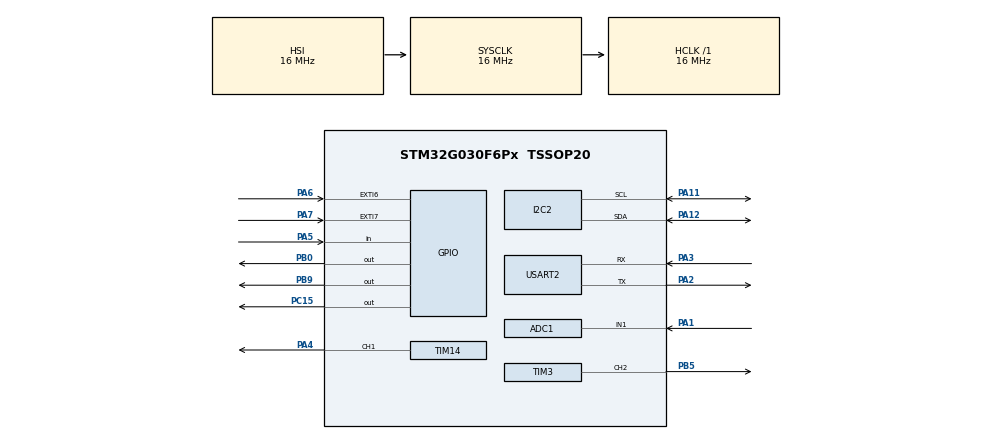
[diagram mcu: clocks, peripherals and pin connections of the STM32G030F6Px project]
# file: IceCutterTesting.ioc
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ADC1.Channel-2\#ChannelRegularConversion=ADC_CHANNEL_1
ADC1.ContinuousConvMode=ENABLE
ADC1.NbrOfConversionFlag=1
ADC1.Rank-2\#ChannelRegularConversion=1
ADC1.Resolution=ADC_RESOLUTION_12B
ADC1.SamplingTime-2\#ChannelRegularConversion=ADC_SAMPLINGTIME_COMMON_1
ADC1.SelectedChannel=ADC_CHANNEL_1
ADC1.master=1
Dma.ADC1.0.Direction=DMA_PERIPH_TO_MEMORY
Dma.ADC1.0.EventEnable=DISABLE
Dma.ADC1.0.Instance=DMA1_Channel1
Dma.ADC1.0.MemDataAlignment=DMA_MDATAALIGN_HALFWORD
Dma.ADC1.0.MemInc=DMA_MINC_ENABLE
Dma.ADC1.0.Mode=DMA_CIRCULAR
Dma.ADC1.0.PeriphDataAlignment=DMA_PDATAALIGN_HALFWORD
Dma.ADC1.0.PeriphInc=DMA_PINC_DISABLE
Dma.ADC1.0.Polarity=HAL_DMAMUX_REQ_GEN_RISING
Dma.ADC1.0.Priority=DMA_PRIORITY_LOW
Dma.ADC1.0.RequestNumber=1
Dma.ADC1.0.SignalID=NONE
Dma.ADC1.0.SyncEnable=DISABLE
Dma.ADC1.0.SyncPolarity=HAL_DMAMUX_SYNC_NO_EVENT
Dma.ADC1.0.SyncRequestNumber=1
Dma.ADC1.0.SyncSignalID=NONE
Dma.Request0=ADC1
Mcu.Family=STM32G0
Mcu.Name=STM32G030F6Px
Mcu.Package=TSSOP20
NVIC.DMA1_Channel1_IRQn=true\:0\:0\:false\:false\:true\:false\:true\:true
NVIC.EXTI4_15_IRQn=true\:0\:0\:false\:false\:true\:true\:true\:true
NVIC.TIM14_IRQn=true\:0\:0\:false\:false\:true\:true\:true\:true
NVIC.TIM3_IRQn=true\:0\:0\:false\:false\:true\:true\:true\:true
PA1.Mode=IN1
PA1.Signal=ADC1_IN1
PA11\ [PA9].Mode=I2C
PA11\ [PA9].Signal=I2C2_SCL
PA12\ [PA10].Mode=I2C
PA12\ [PA10].Signal=I2C2_SDA
PA13.Mode=Serial_Wire
PA13.Signal=SYS_SWDIO
PA14-BOOT0.Mode=Serial_Wire
PA14-BOOT0.Signal=SYS_SWCLK
PA14-BOOT0__PA15.StandardMode=true
PA2.Mode=Asynchronous
PA2.Signal=USART2_TX
PA3.Mode=Asynchronous
PA3.Signal=USART2_RX
PA4.Signal=S_TIM14_CH1
PA5.Signal=GPIO_Input
PA6.GPIO_ModeDefaultEXTI=GPIO_MODE_IT_FALLING
PA6.GPIO_PuPd=GPIO_PULLUP
PA6.Signal=GPXTI6
PA7.GPIO_ModeDefaultEXTI=GPIO_MODE_IT_FALLING
PA7.GPIO_PuPd=GPIO_PULLUP
PA7.Signal=GPXTI7
PB0.GPIO_Speed=GPIO_SPEED_FREQ_VERY_HIGH
PB0.PinState=GPIO_PIN_SET
PB0.Signal=GPIO_Output
PB0__PB1__PB2__PA8.StandardMode=true
PB3__PB4__PB5__PB6.StandardMode=true
PB5.Signal=S_TIM3_CH2
PB7__PB8.StandardMode=true
PB9.GPIO_FM9=SYSCFG_FASTMODEPLUS_PB9
PB9.GPIO_ModeDefaultOutputPP=GPIO_MODE_OUTPUT_PP
PB9.GPIO_PuPd=GPIO_NOPULL
PB9.GPIO_Speed=GPIO_SPEED_FREQ_VERY_HIGH
PB9.PinState=GPIO_PIN_SET
PB9.Signal=GPIO_Output
PC14-OSC32_IN\ (PC14)__PB9.StandardMode=true
PC15-OSC32_OUT\ (PC15).GPIO_ModeDefaultOutputPP=GPIO_MODE_OUTPUT_PP
PC15-OSC32_OUT\ (PC15).GPIO_PuPd=GPIO_PULLUP
PC15-OSC32_OUT\ (PC15).PinState=GPIO_PIN_SET
PC15-OSC32_OUT\ (PC15).Signal=GPIO_Output
ProjectManager.HeapSize=0x200
ProjectManager.StackSize=0x400
ProjectManager.TargetToolchain=STM32CubeIDE
RCC.ADCFreq_Value=16000000
RCC.AHBFreq_Value=16000000
RCC.CortexFreq_Value=16000000
RCC.EXTERNAL_CLOCK_VALUE=12288000
RCC.HCLKFreq_Value=16000000
RCC.HSE_VALUE=8000000
RCC.HSI_VALUE=16000000
RCC.LSE_VALUE=32768
RCC.SYSCLKFreq_VALUE=16000000
RCC.VCOOutputFreq_Value=128000000
SH.S_TIM14_CH1.0=TIM14_CH1,PWM Generation1 CH1
SH.S_TIM3_CH2.0=TIM3_CH2,PWM Generation2 CH2
TIM1.AutoReloadPreload=TIM_AUTORELOAD_PRELOAD_DISABLE
TIM14.AutoReloadPreload=TIM_AUTORELOAD_PRELOAD_ENABLE
TIM14.Channel=TIM_CHANNEL_1
TIM14.OC1Preload_PWM=ENABLE
TIM14.OCFastMode_PWM=TIM_OCFAST_ENABLE
TIM14.OCPolarity_1=TIM_OCPOLARITY_HIGH
TIM14.Period=4095
TIM14.Prescaler=245
TIM3.AutoReloadPreload=TIM_AUTORELOAD_PRELOAD_ENABLE
TIM3.Channel-PWM\ Generation2\ CH2=TIM_CHANNEL_2
TIM3.Period=65535
TIM3.Prescaler=1
USART2.VirtualMode-Asynchronous=VM_ASYNC
VP_TIM14_VS_ClockSourceINT.Mode=Enable_Timer
VP_TIM1_VS_ClockSourceINT.Mode=Internal
board=custom

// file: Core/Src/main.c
/* USER CODE BEGIN Header */
/**
  ******************************************************************************
  * @file           : main.c
  * @brief          : Main program body
  ******************************************************************************
  * @attention
  *
  * Copyright (c) 2022 STMicroelectronics.
  * All rights reserved.
  *
  * This software is licensed under terms that can be found in the LICENSE file
  * in the root directory of this software component.
  * If no LICENSE file comes with this software, it is provided AS-IS.
  *
  ******************************************************************************
  */
/* USER CODE END Header */
#include "main.h"

/* USER CODE BEGIN Includes */
//#include <string.h>
//#include <stdio.h>
/* USER CODE END Includes */

ADC_HandleTypeDef hadc1;
DMA_HandleTypeDef hdma_adc1;

I2C_HandleTypeDef hi2c2;

TIM_HandleTypeDef htim1;
TIM_HandleTypeDef htim3;
TIM_HandleTypeDef htim14;

UART_HandleTypeDef huart2;

/* USER CODE BEGIN PV */

#define WIRE_INA219  		0x40
#define INPUT_INA219 		0x41

#define INA_CONFIG_REG  	0x00
#define INA_VOLT_REG		0x02
#define INA_POWER_REG 		0x03
#define INA_CURRENT_REG  	0x04
#define INA_CALIB_REG  		0x05
#define INA_CAL  			0x7482//0xA6C2//0x7482
#define INA_CAL_INPUT		0x96A8
#define INA_CURRENT_LSB 	0.001831055
#define INA_POWER_LSB 		0.0366211 //current_LSB *20
#define INA_CONFIG_VALUE 	0x299F //sets PGA =2
#define INA_CONFIG_PGA_8	0x399F //set PGA = 8
#define INA_CONFIG_1_SAMP	0x399F //set sampling to 1
#define INA_CONFIG_4_SAMP	0x39D7//set sampling to 4 average
#define INA_CONFIG_8_SAMP	0x39DF//set sampling to 8 average
#define MAX_INRUSH_CURRENT 	59

#define TMP_TEMP_REG  		0x00
#define TMP_LSB  			0.0078125 //set from datasheet
#define ARR_MAX 			63491//15999//0xFFF; //for 12bit resolution @ Fclk = 16MHz
#define TMP_ADD_WIRE 		0x48
#define TMP_ADD_INPUT 		0x49
#define TMP_ADD_AMBIENT 	0x4A
#define TEMP_LIMIT_AMBIENT 	0x32//50C
#define TEMP_LIMIT_WIRE 	0x55//85C
#define TEMP_LIMIT_INPUT 	0x55//85C

#define COPPER_TCR			0.00393//0.004
#define NICKEL_TCR 			0.0059//0.005671
#define R_REF_NICKEL 		0.027474
#define T_REF_NICKEL 		21.973025
#define R_REF_COPPER		0
#define T_REF_COPPER		0
#define CUTTER_TYPE			1 //1=nickel 2 = copper
#define SUPPLY_VOLTAGE 		5

#define RED_LED 		GPIO_PIN_9
#define RED_LED_state	GPIOB
#define GREEN_LED 		GPIO_PIN_15
#define GREEN_LED_state	GPIOC
#define SS_FET			GPIO_PIN_0
#define SS_FET_state	GPIOB
#define DRIVE_FET 		GPIO_PIN_4
#define DRIVE_FET_state	GPIOA
#define SW2 			GPIO_PIN_6
#define SW2_state		GPIOA
#define SW1 			GPIO_PIN_7
#define SW1_state		GPIOA

#define POWER_ON		0
#define INITIALISING	1
#define INITIALISED		2
#define SETTLING_STATE 	3
#define STEADY_STATE	4
#define CUTTING			5
#define COOLDOWN		6
#define UNKNOWN_STATE 	7

#define WARM_UP_THRESHOLD  10	//tune this
#define CUTTING_THRESHOLD -30 	//tune this
#define STEADY_STATE_THRESHOLD 5 //tune this
#define ICE_REMOVED_THRESHOLD 50 //tune this
#define ABOVE_THRESHOLD 0
#define IN_THRESHOLD 	1

#define MAX_ALLOWED_TEMP 	1446//1446//1446.0 //0x5A6 = 1446 = Nickel Melting temp
#define POT_MAX_READING 	4095.0
#define DUTY_CYCLE_MAX 		1

#define FCLK			16000000
#define PSC				245//73//20
#define MAX_ARR			65535
#define ON_TIME			0.01

#define Ki_warming 0.00002
#define Kp_warming 1.1
#define Kd_warming 0.00000000001
float integral = 0;
float derivative = 0;
float prev_error = 0;

#define Ki_cutting 0
#define Kp_cutting 0
#define Kd_cutting 0

#define Ki_cooling 0
#define Kp_cooling 0
#define Kd_cooling 0

uint16_t duty_cycle_global;
uint8_t current_state;

float wire_temp_global;
float prev_wire_temp_global;
float input_power;
float output_power;
uint16_t pot_reading;
float temp_setpoint;
float TMP_Input;
float TMP_Output;
float TMP_Ambient;
float current_input=0;
float current_output=0;
float output_voltage;

uint8_t counter_uart = 0;
uint8_t counter_timer = 1;
uint8_t counter_temp = 0;
uint16_t volt_reg;
float wire_temp_arr[6];

/* USER CODE END PV */

void SystemClock_Config(void);
static void MX_GPIO_Init(void);
static void MX_DMA_Init(void);
static void MX_USART2_UART_Init(void);
static void MX_I2C2_Init(void);
static void MX_ADC1_Init(void);
static void MX_TIM1_Init(void);
static void MX_TIM14_Init(void);
static void MX_TIM3_Init(void);

/* USER CODE BEGIN 0 */
void write_to_register(uint8_t device_address, uint8_t register_pointer, uint16_t register_value);
void write_to_reg_unspecified(uint8_t device_address, uint16_t register_value);
int16_t read_register(uint8_t device_address,uint8_t register_pointer);
int16_t readReg_unspecified(uint8_t device_address);
float get_temp_TMP117(uint8_t device_address);
float measure_current(uint8_t device_address);
float measure_power(uint8_t device_address);
int swap_endian(int p);
void ina_initialise();
float wire_temp_calc();
uint8_t temp_checks();
void SS_charge();
void pulse_charge_SS();
void startup_initialisation();
void UART_output();
void set_PWM_driveFET(float duty_cycle);
double fabs(double x);
uint16_t pot_temp();
void warm_up_controller();
void cutting_controller();
void cooling_controller();
void state_estimate();
void monitor_input_current();
uint16_t calc_ARR(float duty_cycle);
void wire_temp_average();

/* USER CODE END 0 */

int main(void)
{

  /* MCU Configuration--------------------------------------------------------*/

  /* Reset of all peripherals, Initializes the Flash interface and the Systick. */
  HAL_Init();

  /* Configure the system clock */
  SystemClock_Config();

  /* Initialize all configured peripherals */
  MX_GPIO_Init();
  MX_DMA_Init();
  MX_USART2_UART_Init();
  MX_I2C2_Init();
  MX_ADC1_Init();
  MX_TIM1_Init();
  MX_TIM14_Init();
  MX_TIM3_Init();
  /* USER CODE BEGIN 2 */
  //calibrate ADC on start-up for better accuracy
  HAL_ADCEx_Calibration_Start(&hadc1);
  HAL_TIM_PWM_Start(&htim14, TIM_CHANNEL_1);
  HAL_TIM_Base_Start_IT(&htim14);

  //current_state = POWER_ON;
  startup_initialisation();
  HAL_GPIO_WritePin(GPIOB,SS_FET,GPIO_PIN_SET);
  /* USER CODE END 2 */

  /* Infinite loop */
  while (1)
  {

    /* USER CODE BEGIN 3 */

	  HAL_ADC_Start_DMA (&hadc1, &pot_reading, 1);
	  if(temp_checks()==IN_THRESHOLD){
		  counter_uart += 1;
		  //monitor_input_current();
		  //wire_temp_average();

		  //state_estimate();
		  switch (current_state){
		  case POWER_ON:
			  startup_initialisation();
			  break;
		  case INITIALISING:
			  startup_initialisation();
			  break;
		  case INITIALISED:
			  wire_temp_calc();
			  //waiting for button press
			  //HAL_UART_Transmit(&huart2,(uint8_t *)"\r\n Press SW2 to heat",sizeof("\r\n Press SW2 to heat"),10);
			  break;
		  case SETTLING_STATE:
			  warm_up_controller();
			  HAL_GPIO_TogglePin(RED_LED_state, RED_LED);
			  HAL_GPIO_TogglePin(GREEN_LED_state, GREEN_LED);
			  break;
		  case STEADY_STATE:
			  HAL_UART_Transmit(&huart2,(uint8_t *)"\r\n Wire @ temp",sizeof("\r\n Wire @ temp"),10);
			  warm_up_controller();
			  HAL_GPIO_TogglePin(RED_LED_state, RED_LED);
			  HAL_GPIO_TogglePin(GREEN_LED_state, GREEN_LED);
			  break;
		  case CUTTING:
			  cutting_controller();
			  HAL_GPIO_TogglePin(RED_LED_state, RED_LED);
			  HAL_GPIO_TogglePin(GREEN_LED_state, GREEN_LED);
			  break;
		  case COOLDOWN:
			  cooling_controller();
			  HAL_GPIO_TogglePin(RED_LED_state, RED_LED);
			  HAL_GPIO_TogglePin(GREEN_LED_state, GREEN_LED);
			  break;
		  case UNKNOWN_STATE:
			  startup_initialisation();
		  break;
		  }
		  UART_temp_only();
		  HAL_Delay(130);
		  //UART_output();
		  //if(counter_uart == 3){
			  //UART_output();
			  //counter_uart = 0;
		  //}
	  }else{
		  HAL_UART_Transmit(&huart2,(uint8_t *)"\r\n Board too hot",sizeof("\r\n Board too hot"),10);
		  set_PWM_driveFET(0);
	  }
  }
  /* USER CODE END 3 */
}

void SystemClock_Config(void)
{
  RCC_OscInitTypeDef RCC_OscInitStruct = {0};
  RCC_ClkInitTypeDef RCC_ClkInitStruct = {0};

  /** Configure the main internal regulator output voltage
  */
  HAL_PWREx_ControlVoltageScaling(PWR_REGULATOR_VOLTAGE_SCALE1);

  /** Initializes the RCC Oscillators according to the specified parameters
  * in the RCC_OscInitTypeDef structure.
  */
  RCC_OscInitStruct.OscillatorType = RCC_OSCILLATORTYPE_HSI;
  RCC_OscInitStruct.HSIState = RCC_HSI_ON;
  RCC_OscInitStruct.HSIDiv = RCC_HSI_DIV1;
  RCC_OscInitStruct.HSICalibrationValue = RCC_HSICALIBRATION_DEFAULT;
  RCC_OscInitStruct.PLL.PLLState = RCC_PLL_NONE;
  if (HAL_RCC_OscConfig(&RCC_OscInitStruct) != HAL_OK)
  {
    Error_Handler();
  }

  /** Initializes the CPU, AHB and APB buses clocks
  */
  RCC_ClkInitStruct.ClockType = RCC_CLOCKTYPE_HCLK|RCC_CLOCKTYPE_SYSCLK
                              |RCC_CLOCKTYPE_PCLK1;
  RCC_ClkInitStruct.SYSCLKSource = RCC_SYSCLKSOURCE_HSI;
  RCC_ClkInitStruct.AHBCLKDivider = RCC_SYSCLK_DIV1;
  RCC_ClkInitStruct.APB1CLKDivider = RCC_HCLK_DIV1;

  if (HAL_RCC_ClockConfig(&RCC_ClkInitStruct, FLASH_LATENCY_0) != HAL_OK)
  {
    Error_Handler();
  }
}

static void MX_ADC1_Init(void)
{

  ADC_ChannelConfTypeDef sConfig = {0};

  /** Configure the global features of the ADC (Clock, Resolution, Data Alignment and number of conversion)
  */
  hadc1.Instance = ADC1;
  hadc1.Init.ClockPrescaler = ADC_CLOCK_SYNC_PCLK_DIV2;
  hadc1.Init.Resolution = ADC_RESOLUTION_12B;
  hadc1.Init.DataAlign = ADC_DATAALIGN_RIGHT;
  hadc1.Init.ScanConvMode = ADC_SCAN_DISABLE;
  hadc1.Init.EOCSelection = ADC_EOC_SINGLE_CONV;
  hadc1.Init.LowPowerAutoWait = DISABLE;
  hadc1.Init.LowPowerAutoPowerOff = DISABLE;
  hadc1.Init.ContinuousConvMode = ENABLE;
  hadc1.Init.NbrOfConversion = 1;
  hadc1.Init.ExternalTrigConv = ADC_SOFTWARE_START;
  hadc1.Init.ExternalTrigConvEdge = ADC_EXTERNALTRIGCONVEDGE_NONE;
  hadc1.Init.DMAContinuousRequests = DISABLE;
  hadc1.Init.Overrun = ADC_OVR_DATA_PRESERVED;
  hadc1.Init.SamplingTimeCommon1 = ADC_SAMPLETIME_1CYCLE_5;
  hadc1.Init.SamplingTimeCommon2 = ADC_SAMPLETIME_1CYCLE_5;
  hadc1.Init.OversamplingMode = DISABLE;
  hadc1.Init.TriggerFrequencyMode = ADC_TRIGGER_FREQ_HIGH;
  if (HAL_ADC_Init(&hadc1) != HAL_OK)
  {
    Error_Handler();
  }

  /** Configure Regular Channel
  */
  sConfig.Channel = ADC_CHANNEL_1;
  sConfig.Rank = ADC_REGULAR_RANK_1;
  sConfig.SamplingTime = ADC_SAMPLINGTIME_COMMON_1;
  if (HAL_ADC_ConfigChannel(&hadc1, &sConfig) != HAL_OK)
  {
    Error_Handler();
  }

}

static void MX_I2C2_Init(void)
{

  hi2c2.Instance = I2C2;
  hi2c2.Init.Timing = 0x00303D5B;
  hi2c2.Init.OwnAddress1 = 0;
  hi2c2.Init.AddressingMode = I2C_ADDRESSINGMODE_7BIT;
  hi2c2.Init.DualAddressMode = I2C_DUALADDRESS_DISABLE;
  hi2c2.Init.OwnAddress2 = 0;
  hi2c2.Init.OwnAddress2Masks = I2C_OA2_NOMASK;
  hi2c2.Init.GeneralCallMode = I2C_GENERALCALL_DISABLE;
  hi2c2.Init.NoStretchMode = I2C_NOSTRETCH_DISABLE;
  if (HAL_I2C_Init(&hi2c2) != HAL_OK)
  {
    Error_Handler();
  }

  /** Configure Analogue filter
  */
  if (HAL_I2CEx_ConfigAnalogFilter(&hi2c2, I2C_ANALOGFILTER_ENABLE) != HAL_OK)
  {
    Error_Handler();
  }

  /** Configure Digital filter
  */
  if (HAL_I2CEx_ConfigDigitalFilter(&hi2c2, 0) != HAL_OK)
  {
    Error_Handler();
  }

}

static void MX_TIM1_Init(void)
{

  TIM_ClockConfigTypeDef sClockSourceConfig = {0};
  TIM_MasterConfigTypeDef sMasterConfig = {0};

  htim1.Instance = TIM1;
  htim1.Init.Prescaler = 0;
  htim1.Init.CounterMode = TIM_COUNTERMODE_UP;
  htim1.Init.Period = 65535;
  htim1.Init.ClockDivision = TIM_CLOCKDIVISION_DIV1;
  htim1.Init.RepetitionCounter = 0;
  htim1.Init.AutoReloadPreload = TIM_AUTORELOAD_PRELOAD_DISABLE;
  if (HAL_TIM_Base_Init(&htim1) != HAL_OK)
  {
    Error_Handler();
  }
  sClockSourceConfig.ClockSource = TIM_CLOCKSOURCE_INTERNAL;
  if (HAL_TIM_ConfigClockSource(&htim1, &sClockSourceConfig) != HAL_OK)
  {
    Error_Handler();
  }
  sMasterConfig.MasterOutputTrigger = TIM_TRGO_RESET;
  sMasterConfig.MasterOutputTrigger2 = TIM_TRGO2_RESET;
  sMasterConfig.MasterSlaveMode = TIM_MASTERSLAVEMODE_DISABLE;
  if (HAL_TIMEx_MasterConfigSynchronization(&htim1, &sMasterConfig) != HAL_OK)
  {
    Error_Handler();
  }

}

static void MX_TIM3_Init(void)
{

  TIM_MasterConfigTypeDef sMasterConfig = {0};
  TIM_OC_InitTypeDef sConfigOC = {0};

  htim3.Instance = TIM3;
  htim3.Init.Prescaler = 1;
  htim3.Init.CounterMode = TIM_COUNTERMODE_UP;
  htim3.Init.Period = 65535;
  htim3.Init.ClockDivision = TIM_CLOCKDIVISION_DIV1;
  htim3.Init.AutoReloadPreload = TIM_AUTORELOAD_PRELOAD_ENABLE;
  if (HAL_TIM_PWM_Init(&htim3) != HAL_OK)
  {
    Error_Handler();
  }
  sMasterConfig.MasterOutputTrigger = TIM_TRGO_RESET;
  sMasterConfig.MasterSlaveMode = TIM_MASTERSLAVEMODE_DISABLE;
  if (HAL_TIMEx_MasterConfigSynchronization(&htim3, &sMasterConfig) != HAL_OK)
  {
    Error_Handler();
  }
  sConfigOC.OCMode = TIM_OCMODE_PWM1;
  sConfigOC.Pulse = 0;
  sConfigOC.OCPolarity = TIM_OCPOLARITY_HIGH;
  sConfigOC.OCFastMode = TIM_OCFAST_DISABLE;
  if (HAL_TIM_PWM_ConfigChannel(&htim3, &sConfigOC, TIM_CHANNEL_2) != HAL_OK)
  {
    Error_Handler();
  }
  HAL_TIM_MspPostInit(&htim3);

}

static void MX_TIM14_Init(void)
{

  TIM_OC_InitTypeDef sConfigOC = {0};

  htim14.Instance = TIM14;
  htim14.Init.Prescaler = 245;
  htim14.Init.CounterMode = TIM_COUNTERMODE_UP;
  htim14.Init.Period = 4095;
  htim14.Init.ClockDivision = TIM_CLOCKDIVISION_DIV1;
  htim14.Init.AutoReloadPreload = TIM_AUTORELOAD_PRELOAD_ENABLE;
  if (HAL_TIM_Base_Init(&htim14) != HAL_OK)
  {
    Error_Handler();
  }
  if (HAL_TIM_PWM_Init(&htim14) != HAL_OK)
  {
    Error_Handler();
  }
  sConfigOC.OCMode = TIM_OCMODE_PWM1;
  sConfigOC.Pulse = 0;
  sConfigOC.OCPolarity = TIM_OCPOLARITY_HIGH;
  sConfigOC.OCFastMode = TIM_OCFAST_ENABLE;
  if (HAL_TIM_PWM_ConfigChannel(&htim14, &sConfigOC, TIM_CHANNEL_1) != HAL_OK)
  {
    Error_Handler();
  }
  HAL_TIM_MspPostInit(&htim14);

}

static void MX_USART2_UART_Init(void)
{

  huart2.Instance = USART2;
  huart2.Init.BaudRate = 115200;
  huart2.Init.WordLength = UART_WORDLENGTH_8B;
  huart2.Init.StopBits = UART_STOPBITS_1;
  huart2.Init.Parity = UART_PARITY_NONE;
  huart2.Init.Mode = UART_MODE_TX_RX;
  huart2.Init.HwFlowCtl = UART_HWCONTROL_NONE;
  huart2.Init.OverSampling = UART_OVERSAMPLING_16;
  huart2.Init.OneBitSampling = UART_ONE_BIT_SAMPLE_DISABLE;
  huart2.Init.ClockPrescaler = UART_PRESCALER_DIV1;
  huart2.AdvancedInit.AdvFeatureInit = UART_ADVFEATURE_NO_INIT;
  if (HAL_UART_Init(&huart2) != HAL_OK)
  {
    Error_Handler();
  }

}

static void MX_DMA_Init(void)
{

  /* DMA controller clock enable */
  __HAL_RCC_DMA1_CLK_ENABLE();

  /* DMA interrupt init */
  /* DMA1_Channel1_IRQn interrupt configuration */
  HAL_NVIC_SetPriority(DMA1_Channel1_IRQn, 0, 0);
  HAL_NVIC_EnableIRQ(DMA1_Channel1_IRQn);

}

static void MX_GPIO_Init(void)
{
  GPIO_InitTypeDef GPIO_InitStruct = {0};

  /* GPIO Ports Clock Enable */
  __HAL_RCC_GPIOB_CLK_ENABLE();
  __HAL_RCC_GPIOC_CLK_ENABLE();
  __HAL_RCC_GPIOA_CLK_ENABLE();

  /*Configure GPIO pin Output Level */
  HAL_GPIO_WritePin(GPIOB, GPIO_PIN_9|GPIO_PIN_0, GPIO_PIN_SET);

  /*Configure GPIO pin Output Level */
  HAL_GPIO_WritePin(GPIOC, GPIO_PIN_15, GPIO_PIN_SET);

  /*Configure GPIO pins : PB9 PB0 */
  GPIO_InitStruct.Pin = GPIO_PIN_9|GPIO_PIN_0;
  GPIO_InitStruct.Mode = GPIO_MODE_OUTPUT_PP;
  GPIO_InitStruct.Pull = GPIO_NOPULL;
  GPIO_InitStruct.Speed = GPIO_SPEED_FREQ_VERY_HIGH;
  HAL_GPIO_Init(GPIOB, &GPIO_InitStruct);

  /*Configure GPIO pin : PC15 */
  GPIO_InitStruct.Pin = GPIO_PIN_15;
  GPIO_InitStruct.Mode = GPIO_MODE_OUTPUT_PP;
  GPIO_InitStruct.Pull = GPIO_PULLUP;
  GPIO_InitStruct.Speed = GPIO_SPEED_FREQ_LOW;
  HAL_GPIO_Init(GPIOC, &GPIO_InitStruct);

  /*Configure GPIO pin : PA5 */
  GPIO_InitStruct.Pin = GPIO_PIN_5;
  GPIO_InitStruct.Mode = GPIO_MODE_INPUT;
  GPIO_InitStruct.Pull = GPIO_NOPULL;
  HAL_GPIO_Init(GPIOA, &GPIO_InitStruct);

  /*Configure GPIO pins : PA6 PA7 */
  GPIO_InitStruct.Pin = GPIO_PIN_6|GPIO_PIN_7;
  GPIO_InitStruct.Mode = GPIO_MODE_IT_FALLING;
  GPIO_InitStruct.Pull = GPIO_PULLUP;
  HAL_GPIO_Init(GPIOA, &GPIO_InitStruct);

  /**/
  __HAL_SYSCFG_FASTMODEPLUS_ENABLE(SYSCFG_FASTMODEPLUS_PB9);

  /* EXTI interrupt init*/
  HAL_NVIC_SetPriority(EXTI4_15_IRQn, 0, 0);
  HAL_NVIC_EnableIRQ(EXTI4_15_IRQn);

}

/* USER CODE BEGIN 4 */
/**
 *@brief Swaps endian from Big to little or vice versa for given data
 * @param int p
 * @retval int p_swapped
   */
 int swap_endian(int p)
 {
 	 uint16_t p_swapped = (p>>8) | (p<<8);
 	 return p_swapped;
 }
//TODO add I2C error handling
 /**
 * @brief Write to given value to register of given device address
 * @param uint8_t device_address, uint8_t register_pointer, uint16_t register_value
 * @retval None
 */
 void write_to_register(uint8_t device_address,uint8_t register_pointer, uint16_t register_value)
 {
     HAL_StatusTypeDef status = HAL_OK;
     uint16_t register_value_swapped = swap_endian(register_value);
     HAL_I2C_Mem_Write(&hi2c2,(device_address<<1),register_pointer,1,&register_value_swapped,2,50);
     /* Check the communication status */
     if(status != HAL_OK){
    	 MX_I2C2_Init();
    	 HAL_Delay(100);
    	 HAL_I2C_Mem_Write(&hi2c2,(device_address<<1),register_pointer,1,&register_value_swapped,2,50);
    	 // Error handling, for example re-initialization of the I2C peripheral
     }
 }

 /**
 * @brief read given register of given device function
 * @param uint8_t device_address uint8_t register_pointer
 * @retval uint16_t register_value_return
 */
 int16_t read_register(uint8_t device_address,uint8_t register_pointer)
 {
     HAL_StatusTypeDef status = HAL_OK;
     uint16_t register_value_return;

     HAL_I2C_Mem_Read(&hi2c2,(device_address<<1),register_pointer,1,&register_value_return,2,500);
     /* Check the communication status */
     if(status != HAL_OK){
         	 MX_I2C2_Init();
         	 HAL_Delay(100);
         	 HAL_I2C_Mem_Read(&hi2c2,(device_address<<1),register_pointer,1,&register_value_return,2,500);
         	 // Error handling, for example re-initialization of the I2C peripheral
     }
     register_value_return = swap_endian(register_value_return);
     return register_value_return;
 }

 /**
 * @brief	Calculate and return temperature measured by TMP117
 * @param	int16_t register_value
 * @retval 	int16_t temp
 */
 float get_temp_TMP117(uint8_t device_address)
 {
	   //uint8_t value_LSB = 0.0078125;
	   int16_t device_measurement = read_register(device_address, TMP_TEMP_REG);
	   float temp = TMP_LSB * device_measurement;

	   switch(device_address){
	   case TMP_ADD_AMBIENT:
		   TMP_Ambient = temp;
		   break;
	   case TMP_ADD_INPUT:
		   TMP_Input = temp;
		   break;
	   case TMP_ADD_WIRE:
		   TMP_Output = temp;
		   break;
	   }
	   return temp;

 }

 /**
 * @brief Fetches value from current register of INA219, multiplies by current_LSB to calculate current flowing through shunt resistor
 * @param
 * @retval float variable representing current through shunt resistor
 */
 float measure_current(uint8_t device_address)
 {
	  int current_reg = read_register(device_address,INA_CURRENT_REG);
	  float current = INA_CURRENT_LSB*current_reg;
	  switch (device_address){
	  case WIRE_INA219:
		   current_output = current;
		   break;
	   case INPUT_INA219:
		   current_input = current;
		   break;
	   }
	   return current;

 }

 void monitor_input_current(){
	 //float in_current = measure_current(INPUT_INA219);

	 if (current_input >= MAX_INRUSH_CURRENT){
		 set_PWM_driveFET(0);
		 HAL_UART_Transmit(&huart2,(uint8_t *)"\r\n Input current to large",sizeof("\r\n Input current to large"),10);
		 startup_initialisation();
	 }
 }
/**
 * @brief Fetches power variable from INA219s power register, and multiplies by power_LSB to give power in watts across shunt resistor
 * @param
 * @retval float variable representing power across shunt resistor
    */
 float measure_power(uint8_t device_address)
 {
	   int temp = read_register(device_address, INA_POWER_REG);
	   float power = INA_POWER_LSB *temp;
	   switch (device_address){
	   	   case WIRE_INA219:
	   		   output_power = power;
	   		   break;
	   	   case INPUT_INA219:
	   		   input_power = power;
	   		   break;
	   	   }
	   	   return power;
 }

 float measure_voltage(){
	 uint16_t temp = read_register(WIRE_INA219, INA_VOLT_REG);
	 volt_reg = temp;
	 temp = temp>>3;
	 float voltage = temp * 0.004;
	 output_voltage = voltage;
	 return voltage;

 }

/**
 * @brief Uses TCR of Nickel wire to calculate wire temp using measued current, supply voltage is known constant
 * @param
 * @retval float variable of wire temperature
 */
 float wire_temp_calc(){
	 float temp = 0;
	 float wire_current = current_output;//measure_current(WIRE_INA219);
	 HAL_Delay(0.05);
	 //wire_current = current_output;
	 float board_resistance = 0.0726;
	 float red_lead = 0.00001;
	 float black_lead = 0.00007;
	 float board_impedance = board_resistance+red_lead+black_lead;

	 float wire_resistance = output_voltage/wire_current;//SUPPLY_VOLTAGE/wire_current;
	 wire_resistance -= board_impedance;

	 if(wire_current <=2){
		 temp = -10000;
		 //wire_temp_global = temp;

	 }else{

	 if(CUTTER_TYPE==1){
		 temp = wire_resistance/(R_REF_NICKEL*1.2*NICKEL_TCR);//todo remove x3
		 temp = temp - (1/NICKEL_TCR);
		 temp = temp + T_REF_NICKEL;
	 }else{
		 temp = wire_resistance/(R_REF_COPPER*COPPER_TCR);
		 temp = temp - (1/COPPER_TCR);
		 temp = temp + T_REF_COPPER;
	 }

	 if(temp <= MAX_ALLOWED_TEMP && temp >=-300.0){
		 //prev_wire_temp_global = wire_temp_global;
		 //wire_temp_global = temp;
	 }else if(temp>MAX_ALLOWED_TEMP && prev_wire_temp_global >=TMP_Output){
		 temp = prev_wire_temp_global;
		 //wire_temp_global = temp;
	 }else{
		 temp = TMP_Output;
		 //wire_temp_global = temp;
	 }
	 }
	 wire_temp_global = temp;

	 //counter_temp += 1;
	 return temp;
 }

 void wire_temp_average(){
	float temp = wire_temp_calc();

	if(counter_temp>=6){
		counter_temp=0;
	}

	wire_temp_arr[counter_temp] = temp;
	counter_temp+=1;
	float avg = 0;
	for(uint8_t i = 0;i<5;i++){
		avg = avg + wire_temp_arr[i];
	}
	avg = avg/6.0;
	wire_temp_global = avg;
 }

 /**
  * @brief writes calibration value to INA219s calibration register
  * @param address of INA219: uin8_t device_address
  */
 void ina_initialise(){
	   write_to_register(WIRE_INA219,INA_CALIB_REG, INA_CAL);
	   write_to_register(INPUT_INA219, INA_CALIB_REG, INA_CAL_INPUT);
	   write_to_register(WIRE_INA219, INA_CONFIG_REG, INA_CONFIG_4_SAMP);
	   write_to_register(INPUT_INA219, INA_CONFIG_REG, INA_CONFIG_4_SAMP);
 }

/**
 	 * @brief Fetches temp from all three TMP117s on board, ensures all under required temp limit.
     * @param
     * @retval 1 if all below limit 0 if at least one above limit
 */
 uint8_t temp_checks(){//TODO may need to convert to difference from ambient
	   float temp_ambient 	= get_temp_TMP117(TMP_ADD_AMBIENT);//get temp from TNMP117 in open air
	   float temp_input		= get_temp_TMP117(TMP_ADD_INPUT);//get temp from TMP117 near input
	   float temp_element 	= get_temp_TMP117(TMP_ADD_WIRE);//get temp from TMP117 near wire element

	   if((temp_ambient<=TEMP_LIMIT_AMBIENT)&&(temp_input<=TEMP_LIMIT_INPUT)&&(temp_element<=TEMP_LIMIT_WIRE)){
		   return IN_THRESHOLD;
	   }
	   else{
		   return ABOVE_THRESHOLD;
	   }
 }

 /**
  	* @brief	Allows for capacitors to charge through soft-start circuit. if inrush current exceeds maximum allowed input current initiates pulse_charge_SS
  	* slow charging time of capacitors and reduce in rush current
      * @param
      * @retval
 */
 void SS_charge(){
	 uint8_t counter = 0;
	 HAL_GPIO_WritePin(GPIOB,SS_FET,GPIO_PIN_RESET);
	 while(HAL_GPIO_ReadPin(GPIOB,SS_FET) == GPIO_PIN_RESET){
		 float input_current = current_input;//measure_current(INPUT_INA219);
		 if(input_current >= MAX_INRUSH_CURRENT && counter == 0){
			 HAL_GPIO_WritePin(GPIOB,SS_FET, GPIO_PIN_SET); //stop charging caps
			 counter = counter + 1;
			 HAL_GPIO_WritePin(GPIOB,SS_FET, GPIO_PIN_RESET); //stop charging caps
		 }else if(input_current >= MAX_INRUSH_CURRENT && counter >=1){
			 HAL_GPIO_WritePin(GPIOB,SS_FET, GPIO_PIN_SET); //stop charging caps
			 counter = counter + 1;
			 pulse_charge_SS();
		 }else if(temp_checks() == ABOVE_THRESHOLD){
			 HAL_GPIO_WritePin(GPIOB,SS_FET, GPIO_PIN_SET); //stop charging caps
			 while(temp_checks()==ABOVE_THRESHOLD){
				 HAL_Delay(100); //allow time for board to cool
			 }
			 HAL_GPIO_WritePin(GPIOB,SS_FET,GPIO_PIN_RESET);
		 }else if(current_input == 0){// measure_current(INPUT_INA219)==0  capacitors fully charged, no current flow
			 HAL_GPIO_WritePin(GPIOB,SS_FET, GPIO_PIN_SET);//stop soft start circuit charging caps
			 break;
		 }
		 UART_output();
	   }
 }

 /**
   * @brief	Uses SS_FET connection to micro-controller to increase time constant of soft-start circuit to reduce inrush current
   * @param
   * @retval
 */
 void pulse_charge_SS(){
	   for (uint8_t i = 1; i < 50; ++i)
	     {
		   HAL_GPIO_WritePin(GPIOB,SS_FET,GPIO_PIN_RESET);
		   HAL_Delay(0.05);
		   HAL_GPIO_WritePin(GPIOB,SS_FET,GPIO_PIN_SET);
	     }
	   HAL_GPIO_WritePin(GPIOB,SS_FET,GPIO_PIN_RESET);
 }

/** @brief	Use soft-start circuit to charge capacitors, green LED turned on once capacitors fully charged
      * @param
      * @retval
      */
 void startup_initialisation(){
	 	counter_uart = 0;
	 	for(uint8_t i = 0;i<6;i++){
	 		wire_temp_arr[i] = 0;
	 	}
	 	TIM3->CCR1=0;

	 	current_state = INITIALISING;
	 	HAL_GPIO_WritePin(RED_LED_state, RED_LED, GPIO_PIN_SET);//turn on red led
	 	HAL_GPIO_WritePin(GREEN_LED_state, GREEN_LED, GPIO_PIN_RESET);//turn off green led
	 	set_PWM_driveFET(0);//ensure heating wire doesn't conduct
		HAL_GPIO_WritePin(GPIOB,SS_FET,GPIO_PIN_SET); //keep SS_FET high, soft start stops Caps charging
		ina_initialise();//set config registers of INA219s
	   //prompt user for reference temp input via UART
	   //once got input, shut down interrupt channel

	   uint8_t temps_in_range = ABOVE_THRESHOLD;
	   while(temps_in_range == ABOVE_THRESHOLD){
		   temps_in_range = temp_checks();
	   }
	   SS_charge();
	   HAL_GPIO_WritePin(GPIOB,SS_FET, GPIO_PIN_SET);//allow SS_FET to conduct to keep caps charged
	   HAL_GPIO_WritePin(GPIOC, GREEN_LED, GPIO_PIN_SET); // green LED2 turn on, system ready to cut
	   current_state = INITIALISED;
	   //UART_output();
 }

//TODO ADD outputs from other sensors
/**
 * @brief outputs overview of all system parameters via UART interface
 */
void UART_output(){
		uint8_t output[7];
	    uint8_t output_current[7];

		HAL_UART_Transmit(&huart2,(uint8_t *)"\r\n ------------------",sizeof("\r\n ------------------"),10);
    	HAL_UART_Transmit(&huart2,(uint8_t *)"\r\n Output current: ",sizeof("\r\n Output current: "),10);

    	sprintf(output_current,"%d.%03u",((int) (current_output + 0.5)));
    	HAL_UART_Transmit(&huart2,output_current,sizeof(output_current),10);

    	HAL_UART_Transmit(&huart2,(uint8_t *)"\r\n Output voltage: ",sizeof("\r\n Output voltage: "),10);
    	sprintf(output_current,"%d.%02u",((int) (output_voltage + 0.5)));
    	HAL_UART_Transmit(&huart2,output_current,sizeof(output_current),10);

    	HAL_UART_Transmit(&huart2,(uint8_t *)"\r\n Input current: ",sizeof("\r\n Input current: "),10);
    	sprintf(output_current,"%d.%02u",((int) (current_input + 0.5)));
    	HAL_UART_Transmit(&huart2,output_current,sizeof(output_current),10);

    	 //gcvt(ambient_temp,6,output);
    	HAL_UART_Transmit(&huart2,(uint8_t *)"\r\n Ambient temp: ",sizeof("\r\n Ambient temp: "),10);
    	sprintf(output,"%d.%02u", (int) TMP_Ambient, (int) fabs(((TMP_Ambient - (int) TMP_Ambient ) * 100)));
    	HAL_UART_Transmit(&huart2,output,sizeof(output),10);

    	HAL_UART_Transmit(&huart2,(uint8_t *)"\r\n Input shunt temp: ",sizeof("\r\n Input shunt temp: "),10);
    	sprintf(output,"%d.%02u", (int) TMP_Input, (int) fabs(((TMP_Input - (int) TMP_Input ) * 100)));
    	HAL_UART_Transmit(&huart2,output,sizeof(output),10);

    	HAL_UART_Transmit(&huart2,(uint8_t *)"\r\n Output shunt temp: ",sizeof("\r\n Output shunt temp: "),10);
    	sprintf(output,"%d.%02u", (int) TMP_Output, (int) fabs(((TMP_Output - (int) TMP_Output ) * 100)));
    	HAL_UART_Transmit(&huart2,output,sizeof(output),10);

    	HAL_UART_Transmit(&huart2,(uint8_t *)"\r\n Potentiometer reading: ",sizeof("\r\n Potentiometer reading: "),10);
    	sprintf(output,"%d.%02u", (int) pot_reading, (int) fabs(((pot_reading - (int) pot_reading ) * 100)));
    	HAL_UART_Transmit(&huart2,output,sizeof(output),10);

    	sprintf(output,"%d.%02u", (int) duty_cycle_global, (int) fabs(((duty_cycle_global - (int) duty_cycle_global ) * 100)));
    	HAL_UART_Transmit(&huart2,(uint8_t *)"\r\n Current duty cycle: ",sizeof("\r\n Current duty cycle: "),10);
    	HAL_UART_Transmit(&huart2,output,sizeof(output),10);

    	sprintf(output,"%d.%02u", (int) temp_setpoint, (int) fabs(((temp_setpoint - (int) temp_setpoint ) * 100)));
    	HAL_UART_Transmit(&huart2,(uint8_t *)"\r\n Set point Temp: ",sizeof("\r\n Set point Temp: "),10);
    	HAL_UART_Transmit(&huart2,output,sizeof(output),10);

    	HAL_UART_Transmit(&huart2,(uint8_t *)"\r\n Current Temp: ",sizeof("\r\n Current Temp: "),10);
    	//sprintf(output,"%d.%02u", (int) wire_temp_global, (int) fabs(((wire_temp_global - (int) wire_temp_global ) * 100)));
    	//HAL_UART_Transmit(&huart2,output,sizeof(output),10);

    	if(wire_temp_global == -10000){
    		HAL_UART_Transmit(&huart2,"Wire not conducting",sizeof("Wire not conducting"),10);
    	}else{
    		sprintf(output_current,"%d.%02u", (int) wire_temp_global, (int) fabs(((wire_temp_global - (int) wire_temp_global ) * 100)));
    		HAL_UART_Transmit(&huart2,output_current,sizeof(output_current),100);
    	}

    	char Power_on[]		= 	"Power On";
    	char Initialise[]	= 	"Initialised";
    	char Init[]			= 	"Initialising";
    	char Settle[]		= 	"Settling State";
    	char SS[]			= 	"Steady-State";
    	char cutting[]		= 	"Cutting";
    	char cooldown[]		= 	"Cooldown";
    	HAL_UART_Transmit(&huart2,(uint8_t *)"\r\n Current State: ",sizeof("\r\n Current State: "),10);
    	 switch(current_state){
    	 case POWER_ON:
    		 HAL_UART_Transmit(&huart2,(uint8_t *)Power_on,sizeof(Power_on),10);
    		 break;
    	 case INITIALISED:
    		 HAL_UART_Transmit(&huart2,(uint8_t *)Initialise,sizeof(Initialise),10);
    		 break;
    	 case INITIALISING:
    		 HAL_UART_Transmit(&huart2,(uint8_t *)Init,sizeof(Init),10);
    		 break;
    	 case SETTLING_STATE:
    		 HAL_UART_Transmit(&huart2,(uint8_t *)Settle,sizeof(Settle),10);
    		 break;
    	 case STEADY_STATE:
    		 HAL_UART_Transmit(&huart2,(uint8_t *)SS,sizeof(SS),10);
    		 break;
    	 case CUTTING:
    		 HAL_UART_Transmit(&huart2,(uint8_t *)cutting,sizeof(cutting),10);
    		 break;
    	 case COOLDOWN:
    		 HAL_UART_Transmit(&huart2,(uint8_t *)cooldown,sizeof(cooldown),10);
    		 break;
    	 }

    	 HAL_Delay(100);//TODO remove this in actual application
    }

void UART_temp_only(){
	uint8_t output[7];
	HAL_UART_Transmit(&huart2,"	",sizeof("	"),100);
	if(wire_temp_global == -10000){
		HAL_UART_Transmit(&huart2,"0",sizeof("0"),100);
	}else{
		sprintf(output,"%d.%02u", (int) wire_temp_global, (int) fabs(((wire_temp_global - (int) wire_temp_global ) * 100)));
		HAL_UART_Transmit(&huart2,output,sizeof(output),100);
	}
	HAL_UART_Transmit(&huart2,"	",sizeof("	"),100);
	sprintf(output,"%d.%02u", (int) temp_setpoint, (int) fabs(((temp_setpoint - (int) temp_setpoint ) * 100)));
	HAL_UART_Transmit(&huart2,output,sizeof(output),100);
	HAL_UART_Transmit(&huart2,"	",sizeof("	"),100);
	sprintf(output,"%d.%02u", (int) duty_cycle_global, (int) fabs(((duty_cycle_global - (int) duty_cycle_global ) * 100)));
	HAL_UART_Transmit(&huart2,output,sizeof(output),100);
	HAL_UART_Transmit(&huart2,"\r\n",sizeof("\r\n"),100);
	//HAL_Delay(10);
}

/**
 * @brief convert given duty cycle fraction into correct CRR/ARR ratio and writes to the CCR1 register of TIM14
 * limits duty cycle to 0<=duty_cycle<=DUTY_CYCLE_MAX
 */
void set_PWM_driveFET(float duty_cycle){
    	//uint16_t CRR = calculate_CRR(duty_cycle);
    	uint16_t CCR;
    	uint16_t ARR;
    	if(duty_cycle>=DUTY_CYCLE_MAX){
    		ARR = calc_ARR(DUTY_CYCLE_MAX);
    		CCR = DUTY_CYCLE_MAX*ARR;
    	}else if(duty_cycle>=1){
    		ARR = calc_ARR(1);
    		CCR = ARR;
    	}else if(duty_cycle<=0){
    		ARR = 39999;//200Hz
    		CCR=0;
    	}else{
    		ARR = calc_ARR(duty_cycle);
    		CCR = duty_cycle*ARR;
    	}

    	TIM14->CCR1 = CCR;
    	TIM14->ARR = ARR;

    	duty_cycle_global = duty_cycle*100;
    }

uint16_t calc_ARR(float duty_cycle){
	float off_time = (ON_TIME/duty_cycle)-ON_TIME;
	float period = ON_TIME+off_time;
	float Fpwm = 1/period;
	uint16_t round_Fpwm = round(Fpwm);
	uint16_t ARR = (FCLK/(round_Fpwm*(PSC+1)))-1;

	if(ARR<=65535){
		return ARR;
	}else if(ARR<0){
		ARR = 0;
		return ARR;
	}else{
		ARR = 65535;
		return ARR;
	}
}

/**
 * @brief function called when interrupt triggered on rising edge
 * @param GPIO pin on which interrupt occurred
 */
void HAL_GPIO_EXTI_Falling_Callback(uint16_t GPIO_Pin){

	switch(GPIO_Pin){
	case SW1:
		//HAL_GPIO_WritePin(GPIOB,SS_FET,GPIO_PIN_RESET);
		switch (current_state){
		case STEADY_STATE:
			current_state = CUTTING;
			HAL_UART_Transmit(&huart2,(uint8_t *)"\r\n Ready to cut",sizeof("\r\n Ready to cut"),10);
			break;
		case CUTTING:
			current_state = COOLDOWN;
			break;
		}
	break;
	case SW2:
		switch (current_state){
		case POWER_ON:
			HAL_UART_Transmit(&huart2,(uint8_t *)"\r\n Please Wait",sizeof("\r\n Please Wait"),10);
			current_state = POWER_ON;
			break;
		case INITIALISING:
			HAL_UART_Transmit(&huart2,(uint8_t *)"\r\n Please Wait",sizeof("\r\n Please Wait"),10);
			current_state=INITIALISING;
			break;
		case INITIALISED:
			current_state = SETTLING_STATE;
			HAL_UART_Transmit(&huart2,(uint8_t *)"\r\n Heating to Setpoint",sizeof("\r\n Heating to Setpoint"),10);
			break;
		case SETTLING_STATE:
			current_state = INITIALISING;
			HAL_UART_Transmit(&huart2,(uint8_t *)"\r\n Heating turned off",sizeof("\r\n Heating turned off"),10);
		case STEADY_STATE:
			current_state = INITIALISING;
			HAL_UART_Transmit(&huart2,(uint8_t *)"\r\n Heating turned off",sizeof("\r\n Heating turned off"),10);
		}
		break;
	}
}

/**
 * Function called when buffer allocated to ADC connected to potentiometer full
 */
void HAL_ADC_ConvCpltCallback(ADC_HandleTypeDef* hadc){
        // Read & Update The ADC Result
    	//TIM14->CCR1 = pot_reading;
		//float duty_cycle = pot_reading/4095.0;
		//set_PWM_driveFET(duty_cycle);
    	temp_setpoint=pot_temp();
		//temp_setpoint = pot_reading * scaling;
	}

/**
 * @brief PID controller used when system not in contact with ice, has slower response time ideal for intial heat up
 * to set point temperature
 * @param
 * @retva; duty cycle to be applied to drive_FET circuit: float duty_cycle
 */
void warm_up_controller(){
	float wire_temp = wire_temp_calc();
	float error = temp_setpoint - wire_temp;

	integral = integral + error;
	float int_comp = Ki_warming*integral;
	if (int_comp >1000000){
		int_comp = 1000000;
	}
	derivative = error - prev_error;

	float duty_cycle = (Kp_warming * error) + (int_comp) + (Kd_warming*derivative);
	duty_cycle = duty_cycle/100.0;
	prev_error = error;
	if(duty_cycle>1){
		duty_cycle = 1;
	}else if(duty_cycle<0){
		duty_cycle = 0.01;
	}
	set_PWM_driveFET(duty_cycle);
}
/**
 * @brief PID controller with faster response time, for when system in first contacts ice and when ice
 * removed to stop sharp temp increase
 * @param
 * @retva; duty cycle to be applied to drive_FET circuit: float duty_cycle
 */
void cutting_controller(){
	float wire_temp = wire_temp_calc();
	float error = temp_setpoint - wire_temp;

	integral = integral + error;
	derivative = error - prev_error;

	float duty_cycle = (Kp_cutting * error) + (Ki_cutting * integral) + (Kd_cutting * derivative);
	if(duty_cycle >= DUTY_CYCLE_MAX){
		duty_cycle = DUTY_CYCLE_MAX;
	}else if(duty_cycle <0){
		duty_cycle = 0;
	}
	prev_error = error;
	set_PWM_driveFET(duty_cycle);
}

/**
 * @brief PID controller with faster response time, for when temp spikes after ice removed
 * removed to stop sharp temp increase
 * @param
 * @retva; duty cycle to be applied to drive_FET circuit: float duty_cycle
 */
void cooling_controller(){
	float wire_temp = wire_temp_calc();
	float error = temp_setpoint - wire_temp;

	integral = integral + error;
	derivative = error - prev_error;

	float duty_cycle = (Kp_cooling * error) + (Ki_cooling * integral) + (Kd_cooling * derivative);
	prev_error = error;
	set_PWM_driveFET(duty_cycle);
}

/**
  @brief	converts input from potentiometer to temperature set point
  * divides maximum pot reading = 4095 by maximum allowed temperature of heating element
  * @param
  * @retval uint8_t set point temperature
 */
uint16_t pot_temp(){
    	uint16_t set_temp = 0;
    	float scaling = MAX_ALLOWED_TEMP/POT_MAX_READING;

    	set_temp = scaling*pot_reading;
    	return set_temp;

    }
/**
 * @brief Estimates what state the system is in, based on the change in temperature of the nickel wire
 * State estimation used to determine which controller to apply to the system.
 * @param
 * @retval
 */
void state_estimate(){

    float diff_wire_temp = wire_temp_global - prev_wire_temp_global;

    if(wire_temp_global !=  -100000){
    switch(current_state){
    case INITIALISING:
    	break;
    case INITIALISED:
    	break;
    case SETTLING_STATE://non-steady state, includes warm-up time and oscillations prior to steady state
    	if(diff_wire_temp>WARM_UP_THRESHOLD){
    		current_state = SETTLING_STATE;
    	}else if(fabs(wire_temp_global-temp_setpoint) < WARM_UP_THRESHOLD){ //wire heated to set point
    	    current_state = STEADY_STATE;
    	}else if(diff_wire_temp > CUTTING_THRESHOLD){ //wire temp decreased  more than threshold
    	    current_state = CUTTING;
    	}
    	break;
    case STEADY_STATE:
    	if(fabs(diff_wire_temp) <= STEADY_STATE_THRESHOLD){ //wire within set steady state threshold
    		current_state = STEADY_STATE;
    	}else if(diff_wire_temp > STEADY_STATE_THRESHOLD){ //wire above set point temp no longer in steady state
    	    current_state = SETTLING_STATE;
    	}else if(diff_wire_temp <= CUTTING_THRESHOLD){ //wire temp decreased more than cutting threshold
    	    current_state = CUTTING;
    	}
    	break;
    case CUTTING://when ice applied, temp drops need aggressive controller to compensate for drop and heat transfer
    	if(diff_wire_temp > WARM_UP_THRESHOLD && diff_wire_temp < ICE_REMOVED_THRESHOLD){ //wire re-heated to set point
    		current_state = CUTTING;
    	}else if(diff_wire_temp > ICE_REMOVED_THRESHOLD){//wire temp spiked above threshold when ice removed
    		current_state = COOLDOWN;
    	}
    	break;
    case COOLDOWN://when ice removed temp spikes so need more aggressive controller
    	if(wire_temp_global < temp_setpoint && diff_wire_temp >=0){
    		//wire temp decreased below setpoint temp so not too hot
    		//wire temp beginning to increase again, so aggressive controller used to partially return system to steady state
    		current_state = SETTLING_STATE;
    	}else{
    		current_state = COOLDOWN;
    	}
    	break;
    default:
    	//system state not in known phase
    	//stop wire heating and reinitialise the system
    	current_state = UNKNOWN_STATE;
    	set_PWM_driveFET(0);
    	//startup_initialisation();
    	break;
    }
    }
}

uint8_t ina_error_check(){
	uint8_t checker = 0;
	//uint16_t temp = read_register(WIRE_INA219, INA_VOLT_REG);
	//uint8_t conv = volt_reg & (1 << (2 - 1));
	//uint8_t conv = 0x02 & volt_reg;
	//uint8_t ovf = 0x01 & volt_reg;
	if(volt_reg & (1 << (2 - 1))){
		checker = 1;
	}
	return checker;
}

void HAL_TIM_PeriodElapsedCallback(TIM_HandleTypeDef* htim)
{
	//HAL_UART_Transmit(&huart2, (uint8_t)"\r\n x", sizeof("\r\n x"), 10);
	if(htim == &htim3){
		//TIM3->CCR1=15999;
		if(counter_timer %2 == 0){
			measure_voltage();
			if(ina_error_check() == 1){
				measure_current(WIRE_INA219);
				measure_current(INPUT_INA219);
				counter_timer=1;
			}
		}else{
			HAL_TIM_PWM_Stop(&htim3, TIM_CHANNEL_2);
			HAL_TIM_Base_Stop_IT(&htim3);
			counter_timer +=1;
		}
	}else{
		HAL_TIM_PWM_Start(&htim3, TIM_CHANNEL_2);
		HAL_TIM_Base_Start_IT(&htim3);
	}
	//measure_power(WIRE_INA219);
	//measure_power(INPUT_INA219);
}

/* USER CODE END 4 */

void Error_Handler(void)
{
  __disable_irq();
  while (1)
  {
  }
}
